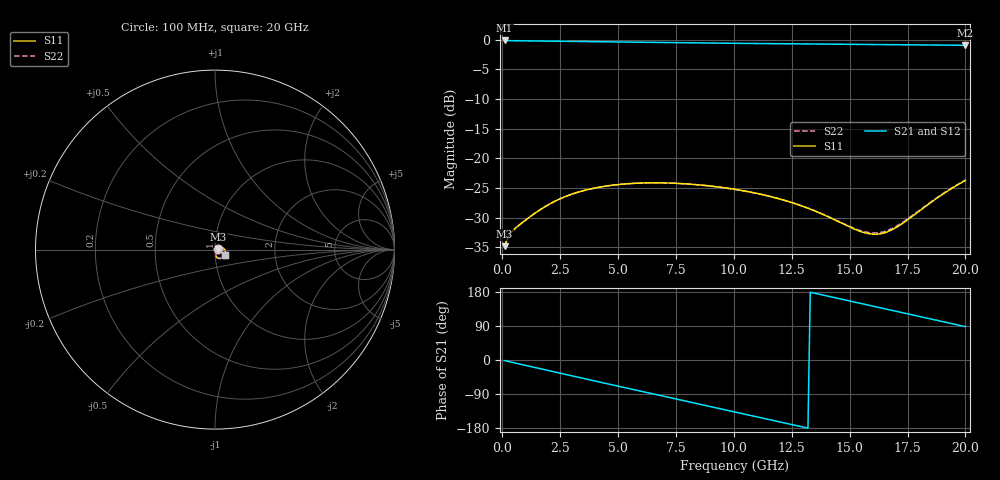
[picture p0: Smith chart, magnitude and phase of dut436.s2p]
! Touchstone file exported from HFSS 2026.1.0
!  File:  C:/ffzhzh/LocalFiles/Ansys_Project_Files/temp_train_TSV_RDL_436_1783097874_35180.aedt
!  Generated:  01:07:06 AM Jul  4, 2026
!  Design:  TSV_RDL
!  Project:  temp_train_TSV_RDL_436_1783097874_35180
! Variables:
!  h_bsmrdl = 3.66um
!  h_ox = 20um
!  h_rdl = 5um
!  h_sub = 95.88um
!  h_tmrdl = 5.68um
!  h_tsv = 95.88um
!  h_via = 3um
!  l_bsmrdl = 343.54um
!  l_sub = 4117.61um
!  l_tmrdl = 645.46um
!  m_sub = 200um
!  pitch = 29.16um
!  r_tsv = 11.11um
!  s_tmrdl = 10um
!  w_bsmrdl = 10.85um
!  w_sub = 500um
!  w_tmrdl = 24.2um
!  x_tsv_center1 = 657.56um
!  x_tsv_center2 = 1011.95um
!  x_tsv_center3 = 1681.61um
!  x_tsv_center4 = 2036um
!  x_tsv_center5 = 2705.66um
!  x_tsv_center6 = 3060.05um
# GHz S MA R 50.000000
! Terminal data exported
! Port[1] = TM_RDL1_1_T1
! Port[2] = TM_RDL5_1_T1
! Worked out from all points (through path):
!   200 points, 100 MHz to 20 GHz, reference 50 ohm
!   highest |S21| = -0.16 dB at 100 MHz (marker M1); lowest = -1.0 dB at 20 GHz (marker M2)
!   group delay of S21, straight-line fit = 37.6 ps
!   lowest |S11| = -34.8 dB at 100 MHz (marker M3), VSWR 1.04, Z = 51.8 + j0.352 ohm
!   |S11| at or under -10 dB: start of sweep to end of sweep
!   |S22| runs from -34.8 to -23.7 dB; largest |S21 - S12| = 2e-14
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0.1  0.01825 10.7  0.9822 -1.5  0.9822 -1.5  0.01824 10.7
! Gamma 0 0 0 0
! Port Impedance 50 0 50 0
0.4  0.02396 17.5  0.9777 -5.8  0.9777 -5.8  0.02395 17.5
1.4  0.03444 19.6  0.9722 -19.7  0.9722 -19.7  0.03444 19.6
2.4  0.04479 12.9  0.9667 -33.6  0.9667 -33.6  0.04478 12.9
3.5  0.05349 1.0  0.9601 -48.6  0.9601 -48.6  0.05346 1.0
4.4  0.05816 -9.4  0.9549 -60.9  0.9549 -60.9  0.05811 -9.3
5.2  0.06071 -18.4  0.9506 -71.8  0.9506 -71.8  0.06065 -18.4
6  0.06201 -27.2  0.9466 -82.6  0.9466 -82.6  0.06194 -27.1
6.8  0.06225 -35.5  0.9429 -93.4  0.9429 -93.4  0.06216 -35.4
8.4  0.06009 -50.8  0.9358 -115.0  0.9358 -115.0  0.05998 -50.6
10.1  0.05468 -64.8  0.9289 -138.0  0.9289 -138.0  0.05458 -64.5
11  0.05071 -71.1  0.9254 -150.1  0.9254 -150.1  0.05062 -70.7
11.8  0.04657 -75.9  0.9224 -160.9  0.9224 -160.9  0.04652 -75.4
12.6  0.04189 -79.5  0.9195 -171.7  0.9195 -171.7  0.04189 -78.9
13.4  0.03676 -81.5  0.9167 177.5  0.9167 177.5  0.03682 -80.7
14.5  0.02945 -79.1  0.9129 162.6  0.9129 162.6  0.02967 -78.2
15.6  0.02381 -66.0  0.9092 147.7  0.9092 147.7  0.02425 -65.1
16.2  0.02304 -53.4  0.9072 139.6  0.9072 139.6  0.0236 -52.9
16.7  0.02441 -42.3  0.9055 132.8  0.9055 132.8  0.025 -42.3
18.4  0.04107 -23.3  0.8998 109.8  0.8998 109.8  0.04154 -23.9
19.2  0.05266 -23.6  0.897 98.9  0.897 98.9  0.05306 -24.2
20  0.06526 -26.9  0.8941 88.0  0.8941 88.0  0.06559 -27.4
